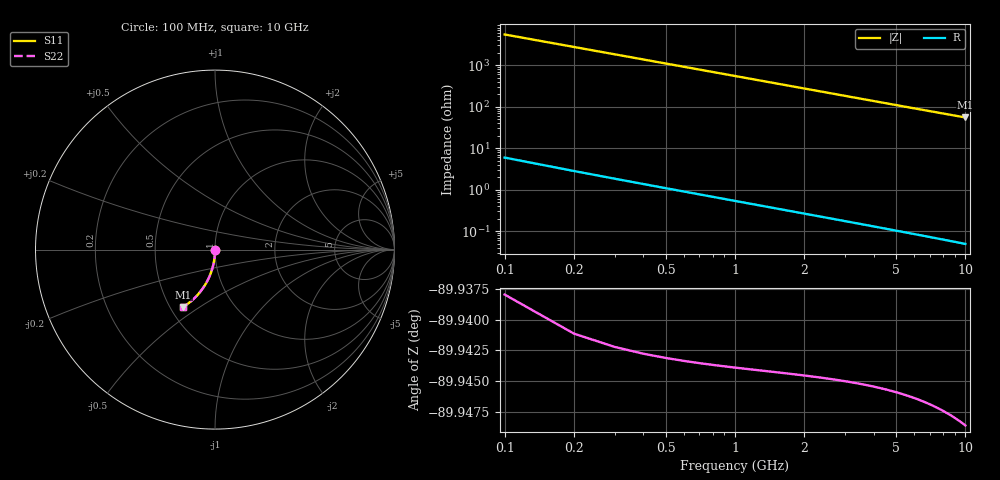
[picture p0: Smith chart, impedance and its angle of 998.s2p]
# Hz S RI R 50.00
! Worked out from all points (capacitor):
!   100 points, 100 MHz to 10 GHz, reference 50 ohm
!   read as one part in shunt: C = 291 fF near 100 MHz
!   lowest |Z| = 54.8 ohm at 10 GHz (marker M1)
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1e8  0.00014 -0.00393  0.9998 -0.00521  0.9998 -0.00521  0.00014 -0.00393
2e8  7.52e-05 -0.00787  0.9997 -0.0104  0.9997 -0.0104  7.52e-05 -0.00787
3e8  -3.1e-05 -0.0118  0.9996 -0.0156  0.9996 -0.0156  -3.1e-05 -0.0118
4e8  -0.000178 -0.0157  0.9995 -0.0209  0.9995 -0.0209  -0.000178 -0.0157
5e8  -0.000367 -0.0197  0.9993 -0.0261  0.9993 -0.0261  -0.000367 -0.0197
6e8  -0.000596 -0.0236  0.999 -0.0313  0.999 -0.0313  -0.000596 -0.0236
7e8  -0.000867 -0.0275  0.9988 -0.0365  0.9988 -0.0365  -0.000867 -0.0275
8e8  -0.00118 -0.0314  0.9984 -0.0417  0.9984 -0.0417  -0.00118 -0.0314
9e8  -0.00153 -0.0354  0.9981 -0.0469  0.9981 -0.0469  -0.00153 -0.0354
1.1e9  -0.00236 -0.0432  0.9972 -0.0573  0.9972 -0.0573  -0.00236 -0.0432
1.4e9  -0.00391 -0.0549  0.9956 -0.0728  0.9956 -0.0728  -0.00391 -0.0549
1.8e9  -0.00654 -0.0704  0.9928 -0.0935  0.9928 -0.0935  -0.00654 -0.0704
2.1e9  -0.00893 -0.082  0.9904 -0.1089  0.9904 -0.1089  -0.00893 -0.082
2.5e9  -0.0127 -0.0972  0.9864 -0.1293  0.9864 -0.1293  -0.0127 -0.0972
2.9e9  -0.0171 -0.1123  0.9819 -0.1496  0.9819 -0.1496  -0.0171 -0.1123
3.4e9  -0.0234 -0.1308  0.9753 -0.1746  0.9753 -0.1746  -0.0234 -0.1308
4.2e9  -0.0354 -0.1596  0.9627 -0.2137  0.9627 -0.2137  -0.0354 -0.1596
5.1e9  -0.0517 -0.1905  0.9458 -0.2563  0.9458 -0.2563  -0.0517 -0.1905
5.9e9  -0.0682 -0.2163  0.9285 -0.2926  0.9285 -0.2926  -0.0682 -0.2163
6.7e9  -0.0866 -0.2404  0.9092 -0.3273  0.9092 -0.3273  -0.0866 -0.2404
8.4e9  -0.1308 -0.2853  0.8628 -0.3949  0.8628 -0.3949  -0.1308 -0.2853
1e10  -0.1769 -0.3192  0.814 -0.4506  0.814 -0.4506  -0.1769 -0.3192
